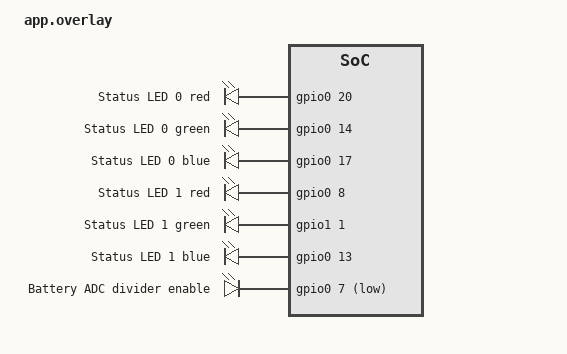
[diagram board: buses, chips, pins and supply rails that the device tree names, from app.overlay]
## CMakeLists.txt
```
cmake_minimum_required(VERSION 3.20.0)

find_package(Zephyr REQUIRED HINTS $ENV{ZEPHYR_BASE})
project(imec_led_pulse_test)

target_sources(app PRIVATE src/main.c)
```

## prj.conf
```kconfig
CONFIG_GPIO=y

CONFIG_SERIAL=n
CONFIG_CONSOLE=n
CONFIG_UART_CONSOLE=n
CONFIG_USB_DEVICE_STACK=n
CONFIG_LOG=n
CONFIG_BOOT_BANNER=n
CONFIG_THREAD_NAME=n
CONFIG_ASSERT=n

CONFIG_MAIN_STACK_SIZE=2048
```

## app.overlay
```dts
#include <zephyr/dt-bindings/gpio/gpio.h>

/ {
    aliases {
        /delete-property/ led0;
        /delete-property/ led1;
        /delete-property/ led2;
        /delete-property/ led3;
        /delete-property/ pwm-led0;
        /delete-property/ sw0;
        /delete-property/ sw1;
        /delete-property/ sw2;
        /delete-property/ sw3;
        /delete-property/ bootloader-led0;
        /delete-property/ mcuboot-button0;
        /delete-property/ mcuboot-led0;

        status0-red = &status0_red;
        status0-green = &status0_green;
        status0-blue = &status0_blue;
        status1-red = &status1_red;
        status1-green = &status1_green;
        status1-blue = &status1_blue;
        battery-adc-enable = &battery_adc_enable;
    };

    status_leds {
        compatible = "gpio-leds";

        status0_red: status0_red {
            gpios = <&gpio0 20 GPIO_ACTIVE_HIGH>;
            label = "Status LED 0 red";
        };

        status0_green: status0_green {
            gpios = <&gpio0 14 GPIO_ACTIVE_HIGH>;
            label = "Status LED 0 green";
        };

        status0_blue: status0_blue {
            gpios = <&gpio0 17 GPIO_ACTIVE_HIGH>;
            label = "Status LED 0 blue";
        };

        status1_red: status1_red {
            gpios = <&gpio0 8 GPIO_ACTIVE_HIGH>;
            label = "Status LED 1 red";
        };

        status1_green: status1_green {
            gpios = <&gpio1 1 GPIO_ACTIVE_HIGH>;
            label = "Status LED 1 green";
        };

        status1_blue: status1_blue {
            gpios = <&gpio0 13 GPIO_ACTIVE_HIGH>;
            label = "Status LED 1 blue";
        };
    };

    battery_control {
        compatible = "gpio-leds";

        battery_adc_enable: battery_adc_enable {
            gpios = <&gpio0 7 GPIO_ACTIVE_LOW>;
            label = "Battery ADC divider enable";
        };
    };
};

&uart0 {
    status = "disabled";
    /delete-property/ pinctrl-0;
    /delete-property/ pinctrl-1;
    /delete-property/ pinctrl-names;
};

&i2c0 {
    status = "disabled";
    /delete-property/ pinctrl-0;
    /delete-property/ pinctrl-1;
    /delete-property/ pinctrl-names;
};

&i2c1 {
    status = "disabled";
    /delete-property/ pinctrl-0;
    /delete-property/ pinctrl-1;
    /delete-property/ pinctrl-names;
};

&uart1 {
    status = "disabled";
    /delete-property/ pinctrl-0;
    /delete-property/ pinctrl-1;
    /delete-property/ pinctrl-names;
};

&spi0 {
    status = "disabled";
    /delete-property/ pinctrl-0;
    /delete-property/ pinctrl-1;
    /delete-property/ pinctrl-names;
};

&spi1 {
    status = "disabled";
    /delete-property/ pinctrl-0;
    /delete-property/ pinctrl-1;
    /delete-property/ pinctrl-names;
};

&spi3 {
    status = "disabled";
    /delete-property/ pinctrl-0;
    /delete-property/ pinctrl-1;
    /delete-property/ pinctrl-names;
    /delete-property/ cs-gpios;
};

&pwm0 {
    status = "disabled";
    /delete-property/ pinctrl-0;
    /delete-property/ pinctrl-1;
    /delete-property/ pinctrl-names;
};

&ieee802154 {
    status = "disabled";
};

&zephyr_udc0 {
    status = "disabled";
};

&adc {
    status = "disabled";
};

&led0 {
    status = "disabled";
};

&led1 {
    status = "disabled";
};

&led2 {
    status = "disabled";
};

&led3 {
    status = "disabled";
};

&pwm_led0 {
    status = "disabled";
};

&button0 {
    status = "disabled";
};

&button1 {
    status = "disabled";
};

&button2 {
    status = "disabled";
};

&button3 {
    status = "disabled";
};
```

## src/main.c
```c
#include <zephyr/device.h>
#include <zephyr/drivers/gpio.h>
#include <zephyr/kernel.h>
#include <zephyr/sys/util.h>

#include <stddef.h>

#define PWM_PERIOD_US 2000u
#define PWM_STEPS 100u
#define STEP_HOLD_MS 18u
#define FULL_HOLD_MS 250u
#define OFF_HOLD_MS 250u

#define STATUS0_RED_NODE DT_ALIAS(status0_red)
#define STATUS0_GREEN_NODE DT_ALIAS(status0_green)
#define STATUS0_BLUE_NODE DT_ALIAS(status0_blue)
#define STATUS1_RED_NODE DT_ALIAS(status1_red)
#define STATUS1_GREEN_NODE DT_ALIAS(status1_green)
#define STATUS1_BLUE_NODE DT_ALIAS(status1_blue)
#define BATTERY_ADC_ENABLE_NODE DT_ALIAS(battery_adc_enable)

static const struct gpio_dt_spec leds[] = {
    GPIO_DT_SPEC_GET(STATUS0_RED_NODE, gpios),
    GPIO_DT_SPEC_GET(STATUS0_GREEN_NODE, gpios),
    GPIO_DT_SPEC_GET(STATUS0_BLUE_NODE, gpios),
    GPIO_DT_SPEC_GET(STATUS1_RED_NODE, gpios),
    GPIO_DT_SPEC_GET(STATUS1_GREEN_NODE, gpios),
    GPIO_DT_SPEC_GET(STATUS1_BLUE_NODE, gpios),
};

static const struct gpio_dt_spec battery_adc_enable =
    GPIO_DT_SPEC_GET(BATTERY_ADC_ENABLE_NODE, gpios);

static void set_all_leds(bool on)
{
    for (size_t i = 0u; i < ARRAY_SIZE(leds); ++i) {
        (void)gpio_pin_set_dt(&leds[i], on ? 1 : 0);
    }
}

static void run_pwm_period(uint32_t duty_step)
{
    uint32_t on_us = (PWM_PERIOD_US * duty_step) / PWM_STEPS;

    if (on_us == 0u) {
        set_all_leds(false);
        k_busy_wait(PWM_PERIOD_US);
        return;
    }

    if (on_us >= PWM_PERIOD_US) {
        set_all_leds(true);
        k_busy_wait(PWM_PERIOD_US);
        return;
    }

    set_all_leds(true);
    k_busy_wait(on_us);
    set_all_leds(false);
    k_busy_wait(PWM_PERIOD_US - on_us);
}

static void hold_duty(uint32_t duty_step, uint32_t hold_ms)
{
    uint32_t periods = MAX(1u, (hold_ms * 1000u) / PWM_PERIOD_US);

    for (uint32_t i = 0u; i < periods; ++i) {
        run_pwm_period(duty_step);
    }
}

static void pulse_once(void)
{
    for (uint32_t duty = 0u; duty <= PWM_STEPS; ++duty) {
        hold_duty(duty, STEP_HOLD_MS);
    }

    hold_duty(PWM_STEPS, FULL_HOLD_MS);

    for (uint32_t duty = PWM_STEPS; duty > 0u; --duty) {
        hold_duty(duty - 1u, STEP_HOLD_MS);
    }

    hold_duty(0u, OFF_HOLD_MS);
}

int main(void)
{
    for (size_t i = 0u; i < ARRAY_SIZE(leds); ++i) {
        if (!gpio_is_ready_dt(&leds[i])) {
            return 1;
        }
    }

    for (size_t i = 0u; i < ARRAY_SIZE(leds); ++i) {
        if (gpio_pin_configure_dt(&leds[i], GPIO_OUTPUT_INACTIVE) < 0) {
            return 1;
        }
    }

    if (gpio_is_ready_dt(&battery_adc_enable)) {
        (void)gpio_pin_configure_dt(&battery_adc_enable, GPIO_OUTPUT_INACTIVE);
    }

    while (true) {
        pulse_once();
    }

    return 0;
}
```
